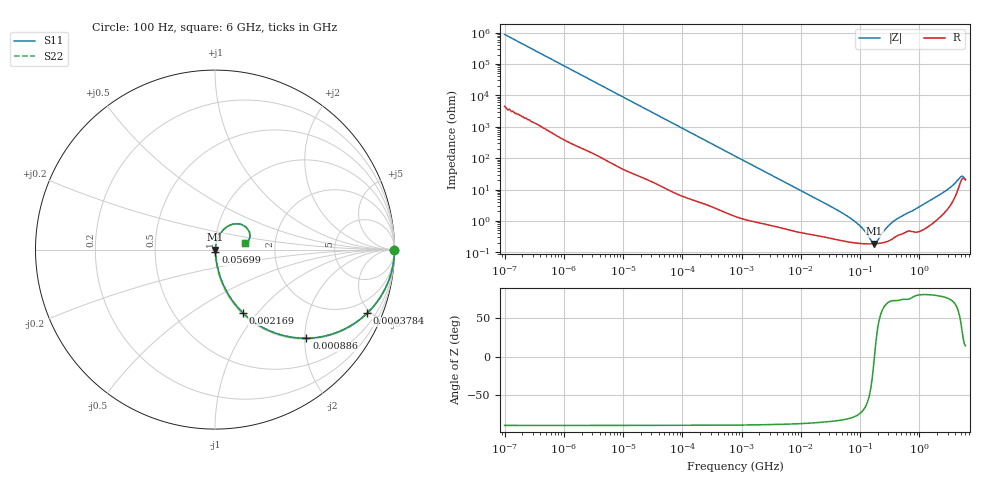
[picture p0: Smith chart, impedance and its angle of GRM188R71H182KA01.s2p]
!Murata Part Number: GRM188R71H182KA01
!These Parameters are Measured in Series Mode Connection
!Data Generated on Mar 30, 2021
!  o--ll--o
!Port1  Port2
!  o------o
!Operation Temp=25[degC], DC Bias Voltage=0[V]
!Freq. Start=100[Hz] Stop=6[GHz] 401[Steps]
# Hz S RI R 50
!Freq.(Hz) S11(Real) S11(Imag) S21(Real) S21(Imag) S12(Real) S12(Imag) S22(Real) S22(Imag)
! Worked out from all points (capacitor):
!   401 points, 100 Hz to 6 GHz, reference 50 ohm
!   read as one part in series: C = 1.82 nF near 109 Hz
!   lowest |Z| = 186 mohm at 174.6 MHz (marker M1)
!   series resonance near 175 MHz, so ESL is about 450 pH
!   S11 on the Smith chart (normalised r, x): 100 Hz: open; 378.4 kHz: 1.05, -4.75; 886 kHz: 1.03, -2.04; 2.169 MHz: 1.02, -0.84; 56.99 MHz: 1.00, -0.03; 6 GHz: 1.40, +0.10
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100  1 -0.000115  6e-07 0.000115  6e-07 0.000115  1 -0.000115
2008  1 -0.00228  1.58e-05 0.00228  1.58e-05 0.00228  1 -0.00228
40335  0.9977 -0.0452  0.00233 0.0452  0.00233 0.0452  0.9977 -0.0452
135116  0.9766 -0.1474  0.0234 0.1474  0.0234 0.1474  0.9766 -0.1474
378399  0.847 -0.3549  0.153 0.3549  0.153 0.3549  0.847 -0.3549
774597  0.575 -0.4884  0.425 0.4884  0.425 0.4884  0.575 -0.4884
885955  0.5095 -0.4937  0.4905 0.4937  0.4905 0.4937  0.5095 -0.4937
2169299  0.154 -0.3511  0.846 0.3511  0.846 0.3511  0.154 -0.3511
4643984  0.0427 -0.1876  0.9573 0.1876  0.9573 0.1876  0.0427 -0.1876
1.555665e7  0.0071 -0.0589  0.9929 0.0589  0.9929 0.0589  0.0071 -0.0589
5.699437e7  0.00244 -0.0152  0.9976 0.0152  0.9976 0.0152  0.00244 -0.0152
1.020051e8  0.00194 -0.00636  0.9981 0.00636  0.9981 0.00636  0.00194 -0.00636
1.596157e8  0.00185 -0.00104  0.9982 0.00104  0.9982 0.00104  0.00185 -0.00104
1.745687e8  0.00186 -2.74e-05  0.9981 2.74e-05  0.9981 2.74e-05  0.00186 -2.74e-05
1.909225e8  0.00188 0.000991  0.9981 -0.000991  0.9981 -0.000991  0.00188 0.000991
2.497637e8  0.00204 0.00415  0.998 -0.00415  0.998 -0.00415  0.00204 0.00415
3.124326e8  0.00239 0.00703  0.9976 -0.00703  0.9976 -0.00703  0.00239 0.00703
4.274388e8  0.0035 0.0112  0.9965 -0.0112  0.9965 -0.0112  0.0035 0.0112
2.679998e9  0.0247 0.0805  0.9753 -0.0805  0.9753 -0.0805  0.0247 0.0805
3.8344e9  0.0626 0.1242  0.9374 -0.1242  0.9374 -0.1242  0.0626 0.1242
4.796499e9  0.1472 0.1402  0.8528 -0.1402  0.8528 -0.1402  0.1472 0.1402
6e9  0.1693 0.0353  0.8307 -0.0353  0.8307 -0.0353  0.1693 0.0353
